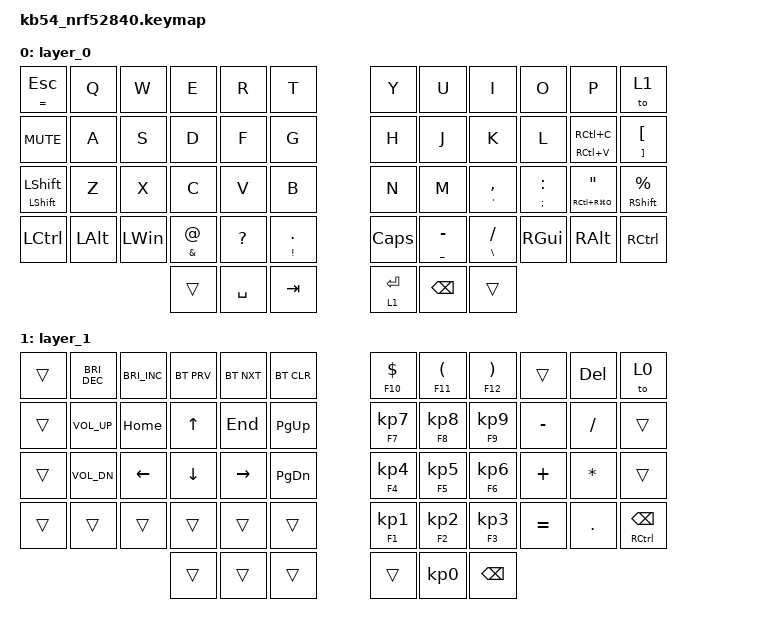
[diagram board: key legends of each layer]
#include <behaviors.dtsi>
#include <dt-bindings/zmk/bt.h>
#include <dt-bindings/zmk/keys.h>

/ {
    behaviors {
        Hold_Tap_KP_and_KP: Hold_Tap_KP_and_KP {
            compatible = "zmk,behavior-hold-tap";
            label = "HOLD_TAP_KP_AND_KP";
            bindings = <&kp>, <&kp>;

            #binding-cells = <2>;
            hold-trigger-key-positions = <0 1 2 3 4 5 6 7 8 9 10 11 12 13 14 15 16 17 18 19 20 21 22 23 24 25 26 27 28 29 30 31 32 33 34 35 36 37 38 39 40 41 42 43 44 45 46 47 48 49 50 51 52 53>;
            tapping-term-ms = <250>;
        };

        Hold_Tap_LAYER_and_Tap: Hold_Tap_LAYER_and_Tap {
            compatible = "zmk,behavior-hold-tap";
            label = "HOLD_TAP_LAYER_AND_TAP";
            bindings = <&mo>, <&kp>;

            #binding-cells = <2>;
            hold-trigger-key-positions = <0 1 5 6 10 11 12 13 14 15 16 17 18 19 20 21 22 23 24 25 26 27 28 29 30 31 32 33 34 35 36 37 38 39 40 41 42 43 44 45 46 47 48 49 50 51 52 53>;
            tapping-term-ms = <300>;
        };
    };

    keymap {
        compatible = "zmk,keymap";

        layer_0 {
            bindings = <
&Hold_Tap_KP_and_KP EQUAL ESC              &kp Q         &kp W         &kp E                                  &kp R         &kp T                                     &kp Y                            &kp U                                 &kp I                               &kp O                                &kp P                                        &to 1
&kp K_MUTE                                 &kp A         &kp S         &kp D                                  &kp F         &kp G                                     &kp H                            &kp J                                 &kp K                               &kp L                                &Hold_Tap_KP_and_KP RC(V) RC(C)              &Hold_Tap_KP_and_KP RIGHT_BRACKET LEFT_BRACKET
&Hold_Tap_KP_and_KP LEFT_SHIFT LEFT_SHIFT  &kp Z         &kp X         &kp C                                  &kp V         &kp B                                     &kp N                            &kp M                                 &Hold_Tap_KP_and_KP SQT COMMA       &Hold_Tap_KP_and_KP SEMICOLON COLON  &Hold_Tap_KP_and_KP RC(RG(O)) DOUBLE_QUOTES  &Hold_Tap_KP_and_KP RIGHT_SHIFT PERCENT
&kp LEFT_CONTROL                           &kp LEFT_ALT  &kp LEFT_WIN  &Hold_Tap_KP_and_KP AMPERSAND AT_SIGN  &kp QUESTION  &Hold_Tap_KP_and_KP EXCLAMATION PERIOD    &kp CAPSLOCK                     &Hold_Tap_KP_and_KP UNDERSCORE MINUS  &Hold_Tap_KP_and_KP BACKSLASH FSLH  &kp RIGHT_GUI                        &kp RIGHT_ALT                                &kp RIGHT_CONTROL
                                                                       &trans                                 &kp SPACE     &kp TAB                                   &Hold_Tap_LAYER_and_Tap 1 ENTER  &kp BSPC                              &trans
            >;
        };

        layer_1 {
            bindings = <
&trans  &kp C_BRIGHTNESS_DEC  &kp C_BRIGHTNESS_INC  &bt BT_PRV    &bt BT_NXT  &bt BT_CLR       &Hold_Tap_KP_and_KP F10 DOLLAR      &Hold_Tap_KP_and_KP F11 LEFT_PARENTHESIS  &Hold_Tap_KP_and_KP F12 RIGHT_PARENTHESIS  &trans     &kp DELETE    &to 0
&trans  &kp C_VOLUME_UP       &kp HOME              &kp UP_ARROW  &kp END     &kp PAGE_UP      &Hold_Tap_KP_and_KP F7 KP_NUMBER_7  &Hold_Tap_KP_and_KP F8 KP_NUMBER_8        &Hold_Tap_KP_and_KP F9 KP_NUMBER_9         &kp MINUS  &kp FSLH      &trans
&trans  &kp C_VOL_DN          &kp LEFT              &kp DOWN      &kp RIGHT   &kp PAGE_DOWN    &Hold_Tap_KP_and_KP F4 KP_NUMBER_4  &Hold_Tap_KP_and_KP F5 KP_NUMBER_5        &Hold_Tap_KP_and_KP F6 KP_NUMBER_6         &kp PLUS   &kp ASTERISK  &trans
&trans  &trans                &trans                &trans        &trans      &trans           &Hold_Tap_KP_and_KP F1 KP_NUMBER_1  &Hold_Tap_KP_and_KP F2 KP_NUMBER_2        &Hold_Tap_KP_and_KP F3 KP_NUMBER_3         &kp EQUAL  &kp PERIOD    &Hold_Tap_KP_and_KP RIGHT_CONTROL BACKSPACE
                                                    &trans        &trans      &trans           &trans                              &kp KP_NUMBER_0                           &kp BACKSPACE
            >;
        };
    };
};
